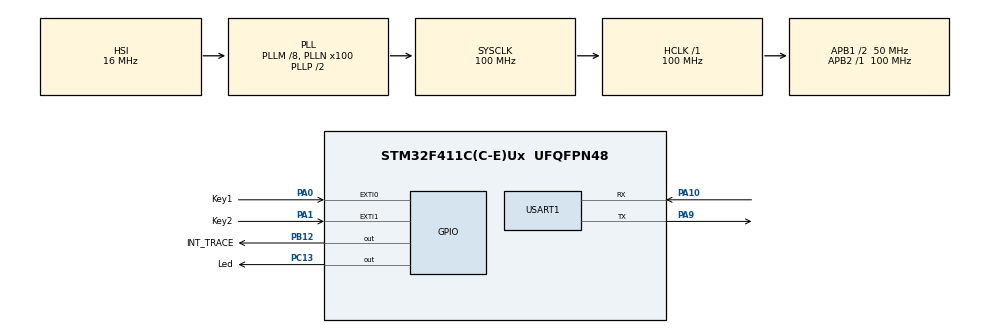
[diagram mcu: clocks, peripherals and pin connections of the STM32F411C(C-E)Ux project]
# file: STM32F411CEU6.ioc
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FREERTOS.Tasks01=defaultTask,24,128,StartDefaultTask,Default,NULL,Dynamic,NULL,NULL
Mcu.Family=STM32F4
Mcu.Name=STM32F411C(C-E)Ux
Mcu.Package=UFQFPN48
NVIC.EXTI0_IRQn=true\:5\:0\:false\:false\:true\:true\:true\:true\:true
NVIC.EXTI1_IRQn=true\:5\:0\:false\:false\:true\:true\:true\:true\:true
NVIC.PriorityGroup=NVIC_PRIORITYGROUP_4
NVIC.TIM1_UP_TIM10_IRQn=true\:15\:0\:false\:false\:true\:false\:false\:true\:true
NVIC.TimeBase=TIM1_UP_TIM10_IRQn
NVIC.TimeBaseIP=TIM1
PA0-WKUP.GPIO_Label=Key1
PA0-WKUP.GPIO_ModeDefaultEXTI=GPIO_MODE_IT_FALLING
PA0-WKUP.GPIO_PuPd=GPIO_PULLUP
PA0-WKUP.Signal=GPXTI0
PA1.GPIO_Label=Key2
PA1.GPIO_ModeDefaultEXTI=GPIO_MODE_IT_FALLING
PA1.GPIO_PuPd=GPIO_PULLUP
PA1.Signal=GPXTI1
PA10.Mode=Asynchronous
PA10.Signal=USART1_RX
PA13.Mode=Trace_Asynchronous_SW
PA13.Signal=SYS_JTMS-SWDIO
PA14.Mode=Trace_Asynchronous_SW
PA14.Signal=SYS_JTCK-SWCLK
PA9.Mode=Asynchronous
PA9.Signal=USART1_TX
PB12.GPIO_Label=INT_TRACE
PB12.GPIO_PuPd=GPIO_PULLDOWN
PB12.GPIO_Speed=GPIO_SPEED_FREQ_VERY_HIGH
PB12.PinState=GPIO_PIN_RESET
PB12.Signal=GPIO_Output
PB3.Mode=Trace_Asynchronous_SW
PB3.Signal=SYS_JTDO-SWO
PC13-ANTI_TAMP.GPIO_Label=Led
PC13-ANTI_TAMP.PinState=GPIO_PIN_RESET
PC13-ANTI_TAMP.Signal=GPIO_Output
ProjectManager.HeapSize=0x200
ProjectManager.StackSize=0x400
ProjectManager.TargetToolchain=MDK-ARM V5
RCC.48MHZClocksFreq_Value=50000000
RCC.AHBFreq_Value=100000000
RCC.APB1CLKDivider=RCC_HCLK_DIV2
RCC.APB1Freq_Value=50000000
RCC.APB1TimFreq_Value=100000000
RCC.APB2Freq_Value=100000000
RCC.APB2TimFreq_Value=100000000
RCC.CortexFreq_Value=100000000
RCC.HCLKFreq_Value=100000000
RCC.HSE_VALUE=25000000
RCC.HSI_VALUE=16000000
RCC.LSE_VALUE=32768
RCC.PLLM=8
RCC.PLLN=100
RCC.SYSCLKFreq_VALUE=100000000
RCC.SYSCLKSource=RCC_SYSCLKSOURCE_PLLCLK
RCC.VCOOutputFreq_Value=200000000
USART1.VirtualMode=VM_ASYNC
VP_FREERTOS_VS_CMSIS_V2.Mode=CMSIS_V2
VP_SYS_VS_tim1.Mode=TIM1
board=custom

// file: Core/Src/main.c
/* USER CODE BEGIN Header */
/**
  ******************************************************************************
  * @file           : main.c
  * @brief          : Main program body
  ******************************************************************************
  * @attention
  *
  * Copyright (c) 2025 STMicroelectronics.
  * All rights reserved.
  *
  * This software is licensed under terms that can be found in the LICENSE file
  * in the root directory of this software component.
  * If no LICENSE file comes with this software, it is provided AS-IS.
  *
  ******************************************************************************
  */
/* USER CODE END Header */
#include "main.h"
#include "cmsis_os.h"
#include "usart.h"
#include "gpio.h"

/* USER CODE BEGIN Includes */
#include <stdio.h>
#include <stdlib.h>
/* USER CODE END Includes */

void SystemClock_Config(void);
void MX_FREERTOS_Init(void);

int main(void)
{

  /* MCU Configuration--------------------------------------------------------*/

  /* Reset of all peripherals, Initializes the Flash interface and the Systick. */
  HAL_Init();

  /* Configure the system clock */
  SystemClock_Config();

  /* Initialize all configured peripherals */
  MX_GPIO_Init();
  MX_USART1_UART_Init();

  /* Init scheduler */
  osKernelInitialize();  /* Call init function for freertos objects (in cmsis_os2.c) */
  MX_FREERTOS_Init();

  /* Start scheduler */
  osKernelStart();

  /* We should never get here as control is now taken by the scheduler */

  /* Infinite loop */
  while (1)
  {

  }
}

void SystemClock_Config(void)
{
  RCC_OscInitTypeDef RCC_OscInitStruct = {0};
  RCC_ClkInitTypeDef RCC_ClkInitStruct = {0};

  /** Configure the main internal regulator output voltage
  */
  __HAL_RCC_PWR_CLK_ENABLE();
  __HAL_PWR_VOLTAGESCALING_CONFIG(PWR_REGULATOR_VOLTAGE_SCALE1);

  /** Initializes the RCC Oscillators according to the specified parameters
  * in the RCC_OscInitTypeDef structure.
  */
  RCC_OscInitStruct.OscillatorType = RCC_OSCILLATORTYPE_HSI;
  RCC_OscInitStruct.HSIState = RCC_HSI_ON;
  RCC_OscInitStruct.HSICalibrationValue = RCC_HSICALIBRATION_DEFAULT;
  RCC_OscInitStruct.PLL.PLLState = RCC_PLL_ON;
  RCC_OscInitStruct.PLL.PLLSource = RCC_PLLSOURCE_HSI;
  RCC_OscInitStruct.PLL.PLLM = 8;
  RCC_OscInitStruct.PLL.PLLN = 100;
  RCC_OscInitStruct.PLL.PLLP = RCC_PLLP_DIV2;
  RCC_OscInitStruct.PLL.PLLQ = 4;
  if (HAL_RCC_OscConfig(&RCC_OscInitStruct) != HAL_OK)
  {
    Error_Handler();
  }

  /** Initializes the CPU, AHB and APB buses clocks
  */
  RCC_ClkInitStruct.ClockType = RCC_CLOCKTYPE_HCLK|RCC_CLOCKTYPE_SYSCLK
                              |RCC_CLOCKTYPE_PCLK1|RCC_CLOCKTYPE_PCLK2;
  RCC_ClkInitStruct.SYSCLKSource = RCC_SYSCLKSOURCE_PLLCLK;
  RCC_ClkInitStruct.AHBCLKDivider = RCC_SYSCLK_DIV1;
  RCC_ClkInitStruct.APB1CLKDivider = RCC_HCLK_DIV2;
  RCC_ClkInitStruct.APB2CLKDivider = RCC_HCLK_DIV1;

  if (HAL_RCC_ClockConfig(&RCC_ClkInitStruct, FLASH_LATENCY_3) != HAL_OK)
  {
    Error_Handler();
  }
}

void HAL_TIM_PeriodElapsedCallback(TIM_HandleTypeDef *htim)
{
  if (htim->Instance == TIM1)
  {
    HAL_IncTick();
  }
}

void Error_Handler(void)
{
  __disable_irq();
  while (1)
  {
  }
}

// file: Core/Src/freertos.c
/* USER CODE BEGIN Header */
/**
  ******************************************************************************
  * File Name          : freertos.c
  * Description        : Code for freertos applications
  ******************************************************************************
  * @attention
  *
  * Copyright (c) 2026 STMicroelectronics.
  * All rights reserved.
  *
  * This software is licensed under terms that can be found in the LICENSE file
  * in the root directory of this software component.
  * If no LICENSE file comes with this software, it is provided AS-IS.
  *
  ******************************************************************************
  */
/* USER CODE END Header */

#include "FreeRTOS.h"
#include "task.h"
#include "main.h"
#include "cmsis_os.h"

/* USER CODE BEGIN Includes */
#include <stdio.h>
#include "usart.h"
#include "bsp_key_config.h"

#if (BSP_KEY_QUEUE_USE_POINTER == 0U)
#include "bsp_key_queue_value.h"
#elif (BSP_KEY_QUEUE_USE_POINTER == 1U)
#include "bsp_key_queue_pointer.h"
#else
#error "BSP_KEY_QUEUE_USE_POINTER must be 0U or 1U."
#endif

#include "bsp_led.h"

/* USER CODE END Includes */

/* Definitions for defaultTask */
osThreadId_t defaultTaskHandle;
const osThreadAttr_t defaultTask_attributes = {
  .name = "defaultTask",
  .stack_size = 128 * 4,
  .priority = (osPriority_t) osPriorityNormal,
};

void StartDefaultTask(void *argument);

void MX_FREERTOS_Init(void); /* (MISRA C 2004 rule 8.1) */

void MX_FREERTOS_Init(void) {

  /* USER CODE BEGIN RTOS_QUEUES */
  /* add queues, ... */
    if (pdPASS != key_init())
    {
    Error_Handler();
    }

    if (pdPASS != led_init())
    {
        Error_Handler();
    }
  /* USER CODE END RTOS_QUEUES */

  /* Create the thread(s) */
  /* creation of defaultTask */
  defaultTaskHandle = osThreadNew(StartDefaultTask, NULL, &defaultTask_attributes);

  /* USER CODE BEGIN RTOS_THREADS */
  /* add threads, ... */
    key_task_handle = osThreadNew(key_task_entry,
                                  NULL,
                                  &key_task_attributes);
    led_task_handle = osThreadNew(led_task_entry,
                                  NULL,
                                  &led_task_attributes);

  /* USER CODE END RTOS_THREADS */

}

void StartDefaultTask(void *argument)
{
  /* USER CODE BEGIN StartDefaultTask */

  /* Local variables. */
  key_event_t received_key_event    = KEY_EVENT_NONE;
  led_command_t led_command         = LED_CMD_NONE;

  /* Task loop. */
  for (;;)
    {
        // printf("DFT thread test\r\n");

        // 0. Wait until both queues are ready.
        if ((NULL != g_key_queue) && (NULL != g_led_queue))
        {
            // 1. Receive a key event from the key task.
            if (pdPASS == xQueueReceive(g_key_queue,
                                        &received_key_event,
                                        portMAX_DELAY))
            {
                switch (received_key_event)
                {
                    // 2. Map a short press to the LED toggle command.
                    case KEY_EVENT_SHORT_PRESS:
                    {
                        led_command = LED_CMD_TOGGLE;

                        // 2.1 Forward the LED command to the LED task.
                        if (pdPASS != xQueueSend(g_led_queue,
                                                &led_command,
                                                0))
                        {
                            printf("[E][RELAY] LED command send failed.\r\n");
                        }
                        break;
                    }

                    // 3. Map a long press to the three-blink LED command.
                    case KEY_EVENT_LONG_PRESS:
                    {
                        led_command = LED_CMD_BLINK_3_TIMES;

                        // 3.1 Forward the LED command to the LED task.
                        if (pdPASS != xQueueSend(g_led_queue,
                                                &led_command,
                                                0))
                        {
                            printf("[E][RELAY] LED command send failed.\r\n");
                        }
                        break;
                    }

                    // 4. Report an unexpected key-event value.
                    default:
                    {
                        printf("[E][RELAY] Invalid key event: %d\r\n",
                               (int)received_key_event);
                        break;
                    }
                }
            }
        }
  }
  /* USER CODE END StartDefaultTask */
}
